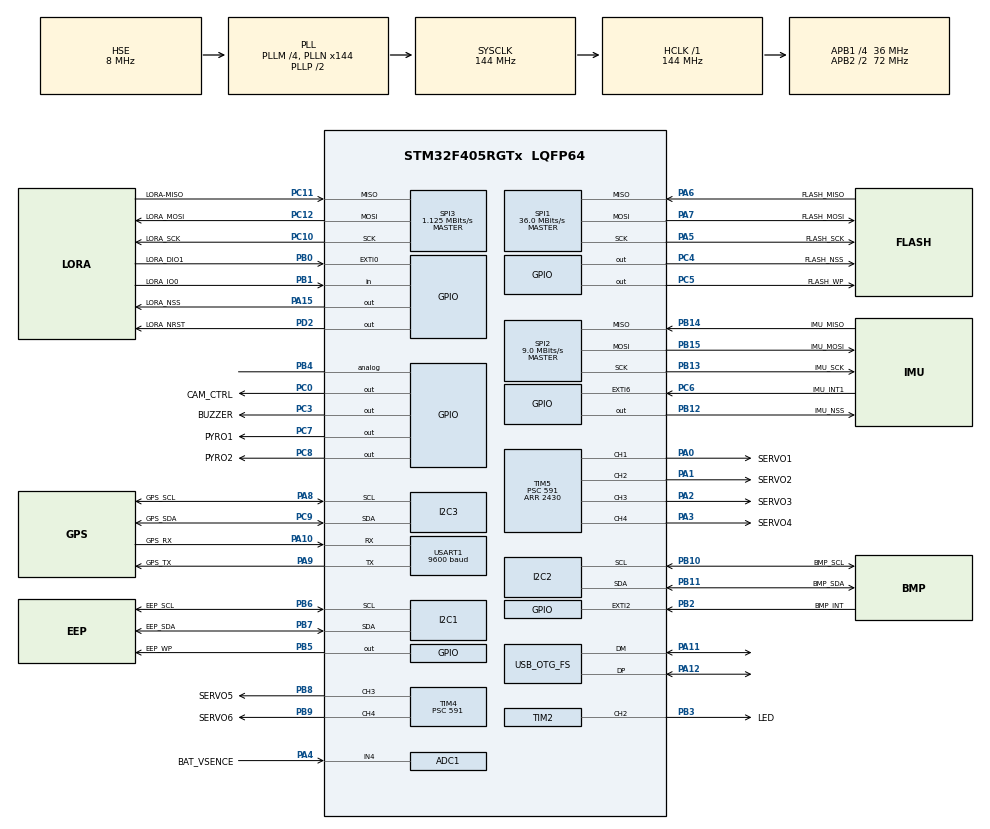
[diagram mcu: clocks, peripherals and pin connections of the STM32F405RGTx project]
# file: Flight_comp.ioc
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ADC1.Channel-0\#ChannelRegularConversion=ADC_CHANNEL_4
ADC1.NbrOfConversionFlag=1
ADC1.Rank-0\#ChannelRegularConversion=1
ADC1.SamplingTime-0\#ChannelRegularConversion=ADC_SAMPLETIME_84CYCLES
ADC1.master=1
Dma.ADC1.4.Direction=DMA_PERIPH_TO_MEMORY
Dma.ADC1.4.FIFOMode=DMA_FIFOMODE_DISABLE
Dma.ADC1.4.Instance=DMA2_Stream0
Dma.ADC1.4.MemDataAlignment=DMA_MDATAALIGN_HALFWORD
Dma.ADC1.4.MemInc=DMA_MINC_ENABLE
Dma.ADC1.4.Mode=DMA_NORMAL
Dma.ADC1.4.PeriphDataAlignment=DMA_PDATAALIGN_HALFWORD
Dma.ADC1.4.PeriphInc=DMA_PINC_DISABLE
Dma.ADC1.4.Priority=DMA_PRIORITY_LOW
Dma.Request0=USART1_RX
Dma.Request1=SPI2_RX
Dma.Request2=TIM2_CH2/CH4
Dma.Request3=SPI2_TX
Dma.Request4=ADC1
Dma.SPI2_RX.1.Direction=DMA_PERIPH_TO_MEMORY
Dma.SPI2_RX.1.FIFOMode=DMA_FIFOMODE_DISABLE
Dma.SPI2_RX.1.Instance=DMA1_Stream3
Dma.SPI2_RX.1.MemDataAlignment=DMA_MDATAALIGN_BYTE
Dma.SPI2_RX.1.MemInc=DMA_MINC_ENABLE
Dma.SPI2_RX.1.Mode=DMA_NORMAL
Dma.SPI2_RX.1.PeriphDataAlignment=DMA_PDATAALIGN_BYTE
Dma.SPI2_RX.1.PeriphInc=DMA_PINC_DISABLE
Dma.SPI2_RX.1.Priority=DMA_PRIORITY_LOW
Dma.SPI2_TX.3.Direction=DMA_MEMORY_TO_PERIPH
Dma.SPI2_TX.3.FIFOMode=DMA_FIFOMODE_DISABLE
Dma.SPI2_TX.3.Instance=DMA1_Stream4
Dma.SPI2_TX.3.MemDataAlignment=DMA_MDATAALIGN_BYTE
Dma.SPI2_TX.3.MemInc=DMA_MINC_ENABLE
Dma.SPI2_TX.3.Mode=DMA_NORMAL
Dma.SPI2_TX.3.PeriphDataAlignment=DMA_PDATAALIGN_BYTE
Dma.SPI2_TX.3.PeriphInc=DMA_PINC_DISABLE
Dma.SPI2_TX.3.Priority=DMA_PRIORITY_LOW
Dma.TIM2_CH2/CH4.2.Direction=DMA_MEMORY_TO_PERIPH
Dma.TIM2_CH2/CH4.2.FIFOMode=DMA_FIFOMODE_DISABLE
Dma.TIM2_CH2/CH4.2.Instance=DMA1_Stream6
Dma.TIM2_CH2/CH4.2.MemDataAlignment=DMA_MDATAALIGN_WORD
Dma.TIM2_CH2/CH4.2.MemInc=DMA_MINC_ENABLE
Dma.TIM2_CH2/CH4.2.Mode=DMA_NORMAL
Dma.TIM2_CH2/CH4.2.PeriphDataAlignment=DMA_PDATAALIGN_WORD
Dma.TIM2_CH2/CH4.2.PeriphInc=DMA_PINC_DISABLE
Dma.TIM2_CH2/CH4.2.Priority=DMA_PRIORITY_VERY_HIGH
Dma.USART1_RX.0.Direction=DMA_PERIPH_TO_MEMORY
Dma.USART1_RX.0.FIFOMode=DMA_FIFOMODE_DISABLE
Dma.USART1_RX.0.Instance=DMA2_Stream2
Dma.USART1_RX.0.MemDataAlignment=DMA_MDATAALIGN_BYTE
Dma.USART1_RX.0.MemInc=DMA_MINC_ENABLE
Dma.USART1_RX.0.Mode=DMA_CIRCULAR
Dma.USART1_RX.0.PeriphDataAlignment=DMA_PDATAALIGN_BYTE
Dma.USART1_RX.0.PeriphInc=DMA_PINC_DISABLE
Dma.USART1_RX.0.Priority=DMA_PRIORITY_LOW
I2C1.I2C_Mode=I2C_Fast
I2C2.I2C_Mode=I2C_Fast
I2C3.I2C_Mode=I2C_Standard
Mcu.Family=STM32F4
Mcu.Name=STM32F405RGTx
Mcu.Package=LQFP64
NVIC.ADC_IRQn=true\:0\:0\:false\:false\:true\:true\:true\:true
NVIC.DMA1_Stream3_IRQn=true\:0\:0\:false\:false\:true\:false\:true\:true
NVIC.DMA1_Stream4_IRQn=true\:0\:0\:false\:false\:true\:false\:true\:true
NVIC.DMA1_Stream6_IRQn=true\:0\:0\:false\:false\:true\:false\:true\:true
NVIC.DMA2_Stream0_IRQn=true\:0\:0\:false\:false\:true\:false\:true\:true
NVIC.DMA2_Stream2_IRQn=true\:0\:0\:false\:false\:true\:false\:true\:true
NVIC.EXTI0_IRQn=true\:0\:0\:false\:false\:true\:true\:true\:true
NVIC.EXTI2_IRQn=true\:0\:0\:false\:false\:true\:true\:true\:true
NVIC.EXTI9_5_IRQn=true\:0\:0\:false\:false\:true\:true\:true\:true
NVIC.OTG_FS_IRQn=true\:0\:0\:false\:false\:true\:false\:true\:true
NVIC.PriorityGroup=NVIC_PRIORITYGROUP_4
NVIC.SPI2_IRQn=true\:0\:0\:false\:false\:true\:true\:true\:true
NVIC.SPI3_IRQn=true\:0\:0\:false\:false\:true\:true\:true\:true
NVIC.TIM2_IRQn=true\:0\:0\:false\:false\:true\:true\:true\:true
NVIC.TIM6_DAC_IRQn=true\:0\:0\:false\:false\:true\:true\:true\:true
NVIC.TIM7_IRQn=true\:0\:0\:false\:false\:true\:true\:true\:true
NVIC.USART1_IRQn=true\:0\:0\:false\:false\:true\:true\:true\:true
PA0-WKUP.GPIO_Label=SERVO1
PA0-WKUP.Signal=S_TIM5_CH1
PA1.GPIO_Label=SERVO2
PA1.Signal=S_TIM5_CH2
PA10.GPIO_Label=GPS_RX
PA10.Mode=Asynchronous
PA10.Signal=USART1_RX
PA11.Mode=Device_Only
PA11.Signal=USB_OTG_FS_DM
PA12.Mode=Device_Only
PA12.Signal=USB_OTG_FS_DP
PA13.Mode=Serial_Wire
PA13.Signal=SYS_JTMS-SWDIO
PA14.Mode=Serial_Wire
PA14.Signal=SYS_JTCK-SWCLK
PA15.GPIO_Label=LORA_NSS
PA15.GPIO_Speed=GPIO_SPEED_FREQ_VERY_HIGH
PA15.PinState=GPIO_PIN_SET
PA15.Signal=GPIO_Output
PA2.GPIO_Label=SERVO3
PA2.Signal=S_TIM5_CH3
PA3.GPIO_Label=SERVO4
PA3.Signal=S_TIM5_CH4
PA4.GPIO_Label=BAT_VSENCE
PA4.Signal=ADCx_IN4
PA5.GPIO_Label=FLASH_SCK
PA5.Mode=Full_Duplex_Master
PA5.Signal=SPI1_SCK
PA6.GPIO_Label=FLASH_MISO
PA6.Mode=Full_Duplex_Master
PA6.Signal=SPI1_MISO
PA7.GPIO_Label=FLASH_MOSI
PA7.Mode=Full_Duplex_Master
PA7.Signal=SPI1_MOSI
PA8.GPIO_Label=GPS_SCL
PA8.GPIO_Pu=GPIO_PULLUP
PA8.Mode=I2C
PA8.Signal=I2C3_SCL
PA9.GPIO_Label=GPS_TX
PA9.Mode=Asynchronous
PA9.Signal=USART1_TX
PB0.GPIO_Label=LORA_DIO1
PB0.GPIO_PuPd=GPIO_PULLDOWN
PB0.Signal=GPXTI0
PB1.GPIO_Label=LORA_IO0
PB1.GPIO_PuPd=GPIO_PULLDOWN
PB1.Signal=GPIO_Input
PB10.GPIO_Label=BMP_SCL
PB10.GPIO_Pu=GPIO_PULLUP
PB10.Mode=I2C
PB10.Signal=I2C2_SCL
PB11.GPIO_Label=BMP_SDA
PB11.GPIO_Pu=GPIO_PULLUP
PB11.Mode=I2C
PB11.Signal=I2C2_SDA
PB12.GPIO_Label=IMU_NSS
PB12.GPIO_Speed=GPIO_SPEED_FREQ_VERY_HIGH
PB12.PinState=GPIO_PIN_SET
PB12.Signal=GPIO_Output
PB13.GPIO_Label=IMU_SCK
PB13.Mode=Full_Duplex_Master
PB13.Signal=SPI2_SCK
PB14.GPIO_Label=IMU_MISO
PB14.Mode=Full_Duplex_Master
PB14.Signal=SPI2_MISO
PB15.GPIO_Label=IMU_MOSI
PB15.Mode=Full_Duplex_Master
PB15.Signal=SPI2_MOSI
PB2.GPIO_Label=BMP_INT
PB2.Signal=GPXTI2
PB3.GPIO_Label=LED
PB3.Signal=S_TIM2_CH2
PB4.Signal=GPIO_Analog
PB5.GPIO_Label=EEP_WP
PB5.GPIO_Speed=GPIO_SPEED_FREQ_VERY_HIGH
PB5.PinState=GPIO_PIN_RESET
PB5.Signal=GPIO_Output
PB6.GPIO_Label=EEP_SCL
PB6.GPIO_Pu=GPIO_PULLUP
PB6.Mode=I2C
PB6.Signal=I2C1_SCL
PB7.GPIO_Label=EEP_SDA
PB7.GPIO_Pu=GPIO_PULLUP
PB7.Mode=I2C
PB7.Signal=I2C1_SDA
PB8.GPIO_Label=SERVO5
PB8.Signal=S_TIM4_CH3
PB9.GPIO_Label=SERVO6
PB9.Signal=S_TIM4_CH4
PC0.GPIO_Label=CAM_CTRL
PC0.Signal=GPIO_Output
PC10.GPIO_Label=LORA_SCK
PC10.Mode=Full_Duplex_Master
PC10.Signal=SPI3_SCK
PC11.GPIO_Label=LORA-MISO
PC11.Mode=Full_Duplex_Master
PC11.Signal=SPI3_MISO
PC12.GPIO_Label=LORA_MOSI
PC12.Mode=Full_Duplex_Master
PC12.Signal=SPI3_MOSI
PC14-OSC32_IN.Mode=LSE-External-Oscillator
PC14-OSC32_IN.Signal=RCC_OSC32_IN
PC15-OSC32_OUT.Mode=LSE-External-Oscillator
PC15-OSC32_OUT.Signal=RCC_OSC32_OUT
PC3.GPIO_Label=BUZZER
PC3.Signal=GPIO_Output
PC4.GPIO_Label=FLASH_NSS
PC4.GPIO_Speed=GPIO_SPEED_FREQ_VERY_HIGH
PC4.PinState=GPIO_PIN_SET
PC4.Signal=GPIO_Output
PC5.GPIO_Label=FLASH_WP
PC5.GPIO_Speed=GPIO_SPEED_FREQ_VERY_HIGH
PC5.PinState=GPIO_PIN_SET
PC5.Signal=GPIO_Output
PC6.GPIO_Label=IMU_INT1
PC6.GPIO_ModeDefaultEXTI=GPIO_MODE_IT_RISING
PC6.Signal=GPXTI6
PC7.GPIO_Label=PYRO1
PC7.Signal=GPIO_Output
PC8.GPIO_Label=PYRO2
PC8.Signal=GPIO_Output
PC9.GPIO_Label=GPS_SDA
PC9.GPIO_Pu=GPIO_PULLUP
PC9.Mode=I2C
PC9.Signal=I2C3_SDA
PD2.GPIO_Label=LORA_NRST
PD2.PinState=GPIO_PIN_SET
PD2.Signal=GPIO_Output
PH0-OSC_IN.Mode=HSE-External-Oscillator
PH0-OSC_IN.Signal=RCC_OSC_IN
PH1-OSC_OUT.Mode=HSE-External-Oscillator
PH1-OSC_OUT.Signal=RCC_OSC_OUT
ProjectManager.HeapSize=0x200
ProjectManager.StackSize=0x400
ProjectManager.TargetToolchain=Makefile
RCC.48MHZClocksFreq_Value=48000000
RCC.AHBFreq_Value=144000000
RCC.APB1CLKDivider=RCC_HCLK_DIV4
RCC.APB1Freq_Value=36000000
RCC.APB1TimFreq_Value=72000000
RCC.APB2CLKDivider=RCC_HCLK_DIV2
RCC.APB2Freq_Value=72000000
RCC.APB2TimFreq_Value=144000000
RCC.CortexFreq_Value=144000000
RCC.HCLKFreq_Value=144000000
RCC.HSE_VALUE=8000000
RCC.HSI_VALUE=16000000
RCC.PLLM=4
RCC.PLLN=144
RCC.PLLQ=6
RCC.SYSCLKFreq_VALUE=144000000
RCC.SYSCLKSource=RCC_SYSCLKSOURCE_PLLCLK
RCC.VCOOutputFreq_Value=288000000
SH.ADCx_IN4.0=ADC1_IN4,IN4
SH.S_TIM2_CH2.0=TIM2_CH2,PWM Generation2 CH2
SH.S_TIM4_CH3.0=TIM4_CH3,PWM Generation3 CH3
SH.S_TIM4_CH4.0=TIM4_CH4,PWM Generation4 CH4
SH.S_TIM5_CH1.0=TIM5_CH1,PWM Generation1 CH1
SH.S_TIM5_CH2.0=TIM5_CH2,PWM Generation2 CH2
SH.S_TIM5_CH3.0=TIM5_CH3,PWM Generation3 CH3
SH.S_TIM5_CH4.0=TIM5_CH4,Output Compare4 CH4
SPI1.BaudRatePrescaler=SPI_BAUDRATEPRESCALER_2
SPI1.CalculateBaudRate=36.0 MBits/s
SPI1.Direction=SPI_DIRECTION_2LINES
SPI1.Mode=SPI_MODE_MASTER
SPI1.VirtualType=VM_MASTER
SPI2.BaudRatePrescaler=SPI_BAUDRATEPRESCALER_4
SPI2.CLKPhase=SPI_PHASE_2EDGE
SPI2.CLKPolarity=SPI_POLARITY_HIGH
SPI2.CalculateBaudRate=9.0 MBits/s
SPI2.Direction=SPI_DIRECTION_2LINES
SPI2.Mode=SPI_MODE_MASTER
SPI2.VirtualNSS=VM_NSSHARD
SPI2.VirtualType=VM_MASTER
SPI3.BaudRatePrescaler=SPI_BAUDRATEPRESCALER_32
SPI3.CalculateBaudRate=1.125 MBits/s
SPI3.Direction=SPI_DIRECTION_2LINES
SPI3.Mode=SPI_MODE_MASTER
SPI3.VirtualType=VM_MASTER
TIM2.Channel-PWM\ Generation2\ CH2=TIM_CHANNEL_2
TIM2.Period=90-1
TIM4.Channel-PWM\ Generation3\ CH3=TIM_CHANNEL_3
TIM4.Channel-PWM\ Generation4\ CH4=TIM_CHANNEL_4
TIM4.Period=2430
TIM4.Prescaler=591
TIM5.Channel-Output\ Compare4\ CH4=TIM_CHANNEL_4
TIM5.Channel-PWM\ Generation1\ CH1=TIM_CHANNEL_1
TIM5.Channel-PWM\ Generation2\ CH2=TIM_CHANNEL_2
TIM5.Channel-PWM\ Generation3\ CH3=TIM_CHANNEL_3
TIM5.Period=2430
TIM5.Prescaler=591
TIM6.Period=65535
TIM6.Prescaler=72-1
TIM7.Period=250
TIM7.Prescaler=35
USART1.BaudRate=9600
USART1.VirtualMode=VM_ASYNC
USB_DEVICE.CLASS_NAME_FS=MSC
USB_DEVICE.VirtualMode-MSC_FS=Msc
USB_DEVICE.VirtualModeFS=Msc_FS
USB_OTG_FS.VirtualMode=Device_Only
VP_CRC_VS_CRC.Mode=CRC_Activate
VP_FATFS_VS_Generic.Mode=User_defined
VP_RNG_VS_RNG.Mode=RNG_Activate
VP_RTC_VS_RTC_Activate.Mode=RTC_Enabled
VP_TIM2_VS_ClockSourceINT.Mode=Internal
VP_TIM4_VS_ClockSourceINT.Mode=Internal
VP_TIM5_VS_ClockSourceINT.Mode=Internal
VP_TIM6_VS_ClockSourceINT.Mode=Enable_Timer
VP_TIM7_VS_ClockSourceINT.Mode=Enable_Timer
VP_USB_DEVICE_VS_USB_DEVICE_MSC_FS.Mode=MSC_FS
board=custom

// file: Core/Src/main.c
/* USER CODE BEGIN Header */
/**
  ******************************************************************************
  * @file           : main.c
  * @brief          : Main program body
  ******************************************************************************
  * @attention
  *
  * Copyright (c) 2026 STMicroelectronics.
  * All rights reserved.
  *
  * This software is licensed under terms that can be found in the LICENSE file
  * in the root directory of this software component.
  * If no LICENSE file comes with this software, it is provided AS-IS.
  *
  ******************************************************************************
  */
/* USER CODE END Header */
#include "main.h"
#include "fatfs.h"
#include "usb_device.h"

/* USER CODE BEGIN Includes */
#include "25flash.h"
#include "neopixel.h"
#include "buzzer.h"
#include "lsm6dso.h"
#include "BMP388.h"
#include "ee24.h"
#include "servo.h"
#include "gps.h"
#include "SX1262.h"
#include "imu_fusion.h"
#include "mission.h"
#include <string.h>
#include "stdbool.h"
#include "tvc_servo.h"
/* USER CODE END Includes */

/* USER CODE BEGIN PD */
/* ===========================================================================
   BENCH SERVO TEST — remove/comment out before flight.
   When defined, main() runs Servo_BenchTest() forever right after the servos
   are initialised, and never proceeds to the mission. It sweeps each TVC servo
   on its own (servo 1 first, then servo 2) between home+20 and home-20 deg,
   pausing at each end so you can watch whether it actually reaches the position.
   Purely a mechanical/wiring check; comment the line out to boot normally. */
// #define SERVO_BENCH_TEST   /* servos validated — off; using TVC_SIGN_CHECK now */
#define SERVO_BENCH_SWEEP_DEG   20    /* +/- degrees from home */
#define SERVO_BENCH_PAUSE_MS    1500  /* hold time at each end */
/* =========================================================================== */

/* ---------------------------------------------------------------------------
   !!! MEASURE THIS. Do not trust the schematic.
   !!! With the 3S LiFePO4 connected: DMM across the pack (V_pack) and at the
   !!! ADC pin (V_pin), then VBAT_DIV_K = V_pack / V_pin.
   !!! The old 4.13 reported 7.89 V for a pack that should sit near 9.9 V.
   --------------------------------------------------------------------------- */
#define VBAT_DIV_K   4.87f
#define VBAT_LP_ALPHA 0.05f   /* the pack sags hard under servo/LoRa current pulses */

#define LSM6DSO_I2C_ADDR (0x6A << 1)
/* USER CODE END PD */

ADC_HandleTypeDef hadc1;
DMA_HandleTypeDef hdma_adc1;

CRC_HandleTypeDef hcrc;

I2C_HandleTypeDef hi2c1;
I2C_HandleTypeDef hi2c2;
I2C_HandleTypeDef hi2c3;

RNG_HandleTypeDef hrng;

RTC_HandleTypeDef hrtc;

SPI_HandleTypeDef hspi1;
SPI_HandleTypeDef hspi2;
SPI_HandleTypeDef hspi3;
DMA_HandleTypeDef hdma_spi2_rx;
DMA_HandleTypeDef hdma_spi2_tx;

TIM_HandleTypeDef htim2;
TIM_HandleTypeDef htim4;
TIM_HandleTypeDef htim5;
TIM_HandleTypeDef htim6;
TIM_HandleTypeDef htim7;
DMA_HandleTypeDef hdma_tim2_ch2_ch4;

UART_HandleTypeDef huart1;
DMA_HandleTypeDef hdma_usart1_rx;

/* USER CODE BEGIN PV */
TIM_HandleTypeDef htim3;          /* 400 Hz control loop */
LSM6DSO_Object_t hlsm6dso1;
LSM6DSO_IO_t lsm6dso_io;

// GNSS_StateHandle GNSS_Handle;

BMP388_HandleTypeDef hbmp388;

EE24_HandleTypeDef h24lc64;

Buzzer_Handle hbuzz1;

servo_t hservo1, hservo2, hservo3, hservo4, hservo5, hservo6;
gngga_t gps;

FATFS fs;

float battery_v;
uint32_t adc_buff[1];

bool buzz_state;

uint8_t lora_buf[255];
uint8_t received_len;

uint8_t gps_working_buf[1024];

extern bool POST_fault_flags[];

uint32_t FreeSpace;
FATFS FatFs;
// extern SX1262 SX_stc;
uint32_t flight_rand_id;
/* USER CODE END PV */

void SystemClock_Config(void);
static void MX_GPIO_Init(void);
static void MX_DMA_Init(void);
static void MX_ADC1_Init(void);
static void MX_I2C1_Init(void);
static void MX_I2C2_Init(void);
static void MX_I2C3_Init(void);
static void MX_RTC_Init(void);
static void MX_SPI1_Init(void);
static void MX_SPI2_Init(void);
static void MX_SPI3_Init(void);
static void MX_TIM4_Init(void);
static void MX_TIM5_Init(void);
static void MX_USART1_UART_Init(void);
static void MX_CRC_Init(void);
static void MX_TIM7_Init(void);
static void MX_TIM2_Init(void);
static void MX_TIM6_Init(void);
static void MX_RNG_Init(void);
/* USER CODE BEGIN PFP */
#ifdef SERVO_BENCH_TEST
void Servo_BenchTest(void);
#endif
void Ctrl_Timer_Init(void);
void Ctrl_Timer_Start(void);
void Ctrl_Timer_Stop(void);
void Get_Vbat(void);
void platform_delay(uint32_t ms);

int32_t platform_imu_init(void);
int32_t platform_imu_deinit(void);
int32_t platform_imu_read(uint16_t Address, uint16_t Reg, uint8_t *Data, uint16_t Length);
int32_t platform_imu_write(uint16_t Address, uint16_t Reg, uint8_t *Data, uint16_t Length);
int32_t platform_get_tick(void);
/* USER CODE END PFP */

/* USER CODE BEGIN 0 */
void PRS_Init(void){
  hbmp388.hi2c = &hi2c2;
  uint32_t rprs, rtemp, time;
  if(BMP388_Init(&hbmp388) == HAL_OK){
    HAL_Delay(5);
    BMP388_SetTempOS(&hbmp388, BMP388_OVERSAMPLING_8X);
    BMP388_SetPressOS(&hbmp388, BMP388_OVERSAMPLING_8X);
    BMP388_SetIIRFilterCoeff(&hbmp388, BMP3_IIR_FILTER_COEFF_3);
    BMP388_SetOutputDataRate(&hbmp388, BMP3_ODR_50_HZ);
    BMP388_ReadRawPressTempTime(&hbmp388, &rprs, &rtemp, &time);  // DUMMY
  }else{
    POST_fault_flags[PRS_Comm_Fail] = 1;
  }
}

void IMU_Init(void){
  lsm6dso_io.BusType  = LSM6DSO_SPI_4WIRES_BUS;
  lsm6dso_io.Address  = 0;
  lsm6dso_io.Init     = platform_imu_init;
  lsm6dso_io.DeInit   = platform_imu_deinit;
  lsm6dso_io.ReadReg  = platform_imu_read;
  lsm6dso_io.WriteReg = platform_imu_write;
  lsm6dso_io.GetTick  = platform_get_tick;
  lsm6dso_io.Delay    = platform_delay;

  if (LSM6DSO_RegisterBusIO(&hlsm6dso1, &lsm6dso_io) == LSM6DSO_OK){
    if (LSM6DSO_Init(&hlsm6dso1) == LSM6DSO_OK){
      IMU_Fusion_Init(&hlsm6dso1);
      HAL_Delay(100);
      // IMU_Fusion_CalibrateGyro(200);
    }
  }else{
    POST_fault_flags[IMU_Comm_Fail] = 1;
  }
}

void LoRa_Init(void){
  SX1262_Get_st()->SPI = hspi3;
  SX1262_Get_st()->Reset_Port = LORA_NRST_GPIO_Port;
  SX1262_Get_st()->Reset_Pin = LORA_NRST_Pin;
  SX1262_Get_st()->NSS_Port = LORA_NSS_GPIO_Port;
  SX1262_Get_st()->NSS_Pin = LORA_NSS_Pin;
  SX1262_Get_st()->Busy_Port = LORA_IO0_GPIO_Port;
  SX1262_Get_st()->Busy_Pin = LORA_IO0_Pin;

  if(SX1262_Init() != 0){
    POST_fault_flags[LoRa_Comm_Fail] = 1;
    return;
  }
  SX1262_SetFrequency(433000000);
  SX1262_setModeReceive();
  uint8_t lora_data[] = "Hello, LoRa!";
  SX1262_Transmit(lora_data, sizeof(lora_data));

  /* 17 dbm, BW 250 kHz, CR_4_5, No CRC, SF7, use sync word 0x12 on SX1278*/
}

void FatFs_Test(void){
  FRESULT FR_Status;
  FATFS *FS_Ptr;
  DWORD FreeClusters;

  FR_Status = f_mount(&FatFs, "", 1);
  if (FR_Status == FR_OK){
    f_getfree("", &FreeClusters, &FS_Ptr);
    FreeSpace = (uint32_t)(FreeClusters * FS_Ptr->csize * 0.5);
    if(FreeSpace < MIN_FLASH_SPACE_KB){
      POST_fault_flags[FS_No_Space] = 1;
    }
  }else{
    POST_fault_flags[FS_Not_Found] = 1;
  }

  FR_Status = f_mount(NULL, "", 0);
}

void Servo_Init_All(void){
  Servo_Init(&hservo1, &htim5, TIM_CHANNEL_1);
  Servo_Init(&hservo2, &htim5, TIM_CHANNEL_2);
  Servo_Init(&hservo3, &htim5, TIM_CHANNEL_3);

  /* TVC servos = KST X10 Mini Pro-A: 900..2100 us -> -60..+60 deg (1500 us =
     center). Map software 0..120 deg to that range, so 1 software deg = 1 servo
     deg and 60 deg = mechanical center. Restrict the us limits here if you want
     less travel. hservo3 (parachute) is left on its default map, so its deploy
     pulse is unchanged. */
  Servo_SetLimitsUS(&hservo1, 0.0f, 120.0f, 900, 2100);
  Servo_SetLimitsUS(&hservo2, 0.0f, 120.0f, 900, 2100);

  Servo_SetAngle(&hservo1, Servo1_Home);
  Servo_SetAngle(&hservo2, Servo2_Home);
  Servo_SetAngle(&hservo3, Parachute_Servo_Home);
}

void GPS_Init(void){
  HAL_UART_Receive_DMA(&huart1, gps_working_buf, sizeof(gps_working_buf));
  __HAL_UART_ENABLE_IT(&huart1, UART_IT_IDLE);
}

void EEPROM_Init(void){
  if(EE24_Init(&h24lc64, &hi2c1, EE24_ADDRESS_DEFAULT, EEP_WP_GPIO_Port, EEP_WP_Pin) != 1){
    POST_fault_flags[EEPROM_Comm_Fail] = 1;
  }
}

void LoRa_TxTelemetry(void){
  // uint8_t telem_buf[19];
  // Mission_BuildTelemetryPacket(telem_buf);
  // SX1262_Transmit(telem_buf, sizeof(telem_buf));

  uint8_t raw_telem_buf[54];
  Mission_BuildRAWTelemetryPacket(raw_telem_buf);
  SX1262_Transmit(raw_telem_buf, sizeof(raw_telem_buf));
}
/* USER CODE END 0 */

int main(void)
{

  /* MCU Configuration--------------------------------------------------------*/

  /* Reset of all peripherals, Initializes the Flash interface and the Systick. */
  HAL_Init();

  /* Configure the system clock */
  SystemClock_Config();

  /* Initialize all configured peripherals */
  MX_GPIO_Init();
  MX_DMA_Init();
  MX_ADC1_Init();
  MX_I2C1_Init();
  MX_I2C2_Init();
  MX_I2C3_Init();
  MX_RTC_Init();
  MX_SPI1_Init();
  MX_SPI2_Init();
  MX_SPI3_Init();
  MX_TIM4_Init();
  MX_TIM5_Init();
  MX_USART1_UART_Init();
  MX_USB_DEVICE_Init();
  MX_CRC_Init();
  MX_FATFS_Init();
  MX_TIM7_Init();
  MX_TIM2_Init();
  MX_TIM6_Init();
  MX_RNG_Init();
  /* USER CODE BEGIN 2 */
  BUZZ(&hbuzz1, 300);

  LED_Set_Color(64, 64, 0);

  EEPROM_Init();
  GPS_Init();
  PRS_Init();
  IMU_Init();
  LoRa_Init();
  Servo_Init_All();
#ifdef SERVO_BENCH_TEST
  /* Bench servo check — never returns. Comment out SERVO_BENCH_TEST (top of
     file) to boot normally into the mission. */
  Servo_BenchTest();
#endif
  FatFs_Test();

  HAL_RNG_GenerateRandomNumber(&hrng, &flight_rand_id);

  Mission_Init();

  /* Configured now, started later by Mission_StartControlLoop() -- gyro bias
     calibration must have SPI2 to itself first. */
  Ctrl_Timer_Init();

  LED_Set_Color(0, 64, 0);

  BUZZ(&hbuzz1, 300);

  uint32_t tel_tmr = HAL_GetTick();
  /* USER CODE END 2 */

  /* Infinite loop */
  /* USER CODE BEGIN WHILE */
  while (1)
  {
    // if(gps.lat != 0 && gps.valid){
    //   BUZZ(&hbuzz1, 300);
    // }
    if(HAL_GetTick() - tel_tmr > 100){
      LoRa_TxTelemetry();
      tel_tmr = HAL_GetTick();
    }

    Mission_Update();

    Get_Vbat();
    /* USER CODE END WHILE */

  }
}

void SystemClock_Config(void)
{
  RCC_OscInitTypeDef RCC_OscInitStruct = {0};
  RCC_ClkInitTypeDef RCC_ClkInitStruct = {0};

  /** Configure the main internal regulator output voltage
  */
  __HAL_RCC_PWR_CLK_ENABLE();
  __HAL_PWR_VOLTAGESCALING_CONFIG(PWR_REGULATOR_VOLTAGE_SCALE1);

  /** Initializes the RCC Oscillators according to the specified parameters
  * in the RCC_OscInitTypeDef structure.
  */
  RCC_OscInitStruct.OscillatorType = RCC_OSCILLATORTYPE_LSI|RCC_OSCILLATORTYPE_HSE;
  RCC_OscInitStruct.HSEState = RCC_HSE_ON;
  RCC_OscInitStruct.LSIState = RCC_LSI_ON;
  RCC_OscInitStruct.PLL.PLLState = RCC_PLL_ON;
  RCC_OscInitStruct.PLL.PLLSource = RCC_PLLSOURCE_HSE;
  RCC_OscInitStruct.PLL.PLLM = 4;
  RCC_OscInitStruct.PLL.PLLN = 144;
  RCC_OscInitStruct.PLL.PLLP = RCC_PLLP_DIV2;
  RCC_OscInitStruct.PLL.PLLQ = 6;
  if (HAL_RCC_OscConfig(&RCC_OscInitStruct) != HAL_OK)
  {
    Error_Handler();
  }

  /** Initializes the CPU, AHB and APB buses clocks
  */
  RCC_ClkInitStruct.ClockType = RCC_CLOCKTYPE_HCLK|RCC_CLOCKTYPE_SYSCLK
                              |RCC_CLOCKTYPE_PCLK1|RCC_CLOCKTYPE_PCLK2;
  RCC_ClkInitStruct.SYSCLKSource = RCC_SYSCLKSOURCE_PLLCLK;
  RCC_ClkInitStruct.AHBCLKDivider = RCC_SYSCLK_DIV1;
  RCC_ClkInitStruct.APB1CLKDivider = RCC_HCLK_DIV4;
  RCC_ClkInitStruct.APB2CLKDivider = RCC_HCLK_DIV2;

  if (HAL_RCC_ClockConfig(&RCC_ClkInitStruct, FLASH_LATENCY_4) != HAL_OK)
  {
    Error_Handler();
  }
}

static void MX_ADC1_Init(void)
{

  ADC_ChannelConfTypeDef sConfig = {0};

  /** Configure the global features of the ADC (Clock, Resolution, Data Alignment and number of conversion)
  */
  hadc1.Instance = ADC1;
  hadc1.Init.ClockPrescaler = ADC_CLOCK_SYNC_PCLK_DIV2;
  hadc1.Init.Resolution = ADC_RESOLUTION_12B;
  hadc1.Init.ScanConvMode = DISABLE;
  hadc1.Init.ContinuousConvMode = DISABLE;
  hadc1.Init.DiscontinuousConvMode = DISABLE;
  hadc1.Init.ExternalTrigConvEdge = ADC_EXTERNALTRIGCONVEDGE_NONE;
  hadc1.Init.ExternalTrigConv = ADC_SOFTWARE_START;
  hadc1.Init.DataAlign = ADC_DATAALIGN_RIGHT;
  hadc1.Init.NbrOfConversion = 1;
  hadc1.Init.DMAContinuousRequests = DISABLE;
  hadc1.Init.EOCSelection = ADC_EOC_SINGLE_CONV;
  if (HAL_ADC_Init(&hadc1) != HAL_OK)
  {
    Error_Handler();
  }

  /** Configure for the selected ADC regular channel its corresponding rank in the sequencer and its sample time.
  */
  sConfig.Channel = ADC_CHANNEL_4;
  sConfig.Rank = 1;
  sConfig.SamplingTime = ADC_SAMPLETIME_84CYCLES;
  if (HAL_ADC_ConfigChannel(&hadc1, &sConfig) != HAL_OK)
  {
    Error_Handler();
  }

}

static void MX_CRC_Init(void)
{

  hcrc.Instance = CRC;
  if (HAL_CRC_Init(&hcrc) != HAL_OK)
  {
    Error_Handler();
  }

}

static void MX_I2C1_Init(void)
{

  hi2c1.Instance = I2C1;
  hi2c1.Init.ClockSpeed = 400000;
  hi2c1.Init.DutyCycle = I2C_DUTYCYCLE_2;
  hi2c1.Init.OwnAddress1 = 0;
  hi2c1.Init.AddressingMode = I2C_ADDRESSINGMODE_7BIT;
  hi2c1.Init.DualAddressMode = I2C_DUALADDRESS_DISABLE;
  hi2c1.Init.OwnAddress2 = 0;
  hi2c1.Init.GeneralCallMode = I2C_GENERALCALL_DISABLE;
  hi2c1.Init.NoStretchMode = I2C_NOSTRETCH_DISABLE;
  if (HAL_I2C_Init(&hi2c1) != HAL_OK)
  {
    Error_Handler();
  }

}

static void MX_I2C2_Init(void)
{

  hi2c2.Instance = I2C2;
  hi2c2.Init.ClockSpeed = 400000;
  hi2c2.Init.DutyCycle = I2C_DUTYCYCLE_2;
  hi2c2.Init.OwnAddress1 = 0;
  hi2c2.Init.AddressingMode = I2C_ADDRESSINGMODE_7BIT;
  hi2c2.Init.DualAddressMode = I2C_DUALADDRESS_DISABLE;
  hi2c2.Init.OwnAddress2 = 0;
  hi2c2.Init.GeneralCallMode = I2C_GENERALCALL_DISABLE;
  hi2c2.Init.NoStretchMode = I2C_NOSTRETCH_DISABLE;
  if (HAL_I2C_Init(&hi2c2) != HAL_OK)
  {
    Error_Handler();
  }

}

static void MX_I2C3_Init(void)
{

  hi2c3.Instance = I2C3;
  hi2c3.Init.ClockSpeed = 100000;
  hi2c3.Init.DutyCycle = I2C_DUTYCYCLE_2;
  hi2c3.Init.OwnAddress1 = 0;
  hi2c3.Init.AddressingMode = I2C_ADDRESSINGMODE_7BIT;
  hi2c3.Init.DualAddressMode = I2C_DUALADDRESS_DISABLE;
  hi2c3.Init.OwnAddress2 = 0;
  hi2c3.Init.GeneralCallMode = I2C_GENERALCALL_DISABLE;
  hi2c3.Init.NoStretchMode = I2C_NOSTRETCH_DISABLE;
  if (HAL_I2C_Init(&hi2c3) != HAL_OK)
  {
    Error_Handler();
  }

}

static void MX_RNG_Init(void)
{

  hrng.Instance = RNG;
  if (HAL_RNG_Init(&hrng) != HAL_OK)
  {
    Error_Handler();
  }

}

static void MX_RTC_Init(void)
{

  /** Initialize RTC Only
  */
  hrtc.Instance = RTC;
  hrtc.Init.HourFormat = RTC_HOURFORMAT_24;
  hrtc.Init.AsynchPrediv = 127;
  hrtc.Init.SynchPrediv = 255;
  hrtc.Init.OutPut = RTC_OUTPUT_DISABLE;
  hrtc.Init.OutPutPolarity = RTC_OUTPUT_POLARITY_HIGH;
  hrtc.Init.OutPutType = RTC_OUTPUT_TYPE_OPENDRAIN;
  if (HAL_RTC_Init(&hrtc) != HAL_OK)
  {
    Error_Handler();
  }

}

static void MX_SPI1_Init(void)
{

  /* SPI1 parameter configuration*/
  hspi1.Instance = SPI1;
  hspi1.Init.Mode = SPI_MODE_MASTER;
  hspi1.Init.Direction = SPI_DIRECTION_2LINES;
  hspi1.Init.DataSize = SPI_DATASIZE_8BIT;
  hspi1.Init.CLKPolarity = SPI_POLARITY_LOW;
  hspi1.Init.CLKPhase = SPI_PHASE_1EDGE;
  hspi1.Init.NSS = SPI_NSS_SOFT;
  hspi1.Init.BaudRatePrescaler = SPI_BAUDRATEPRESCALER_2;
  hspi1.Init.FirstBit = SPI_FIRSTBIT_MSB;
  hspi1.Init.TIMode = SPI_TIMODE_DISABLE;
  hspi1.Init.CRCCalculation = SPI_CRCCALCULATION_DISABLE;
  hspi1.Init.CRCPolynomial = 10;
  if (HAL_SPI_Init(&hspi1) != HAL_OK)
  {
    Error_Handler();
  }

}

static void MX_SPI2_Init(void)
{

  /* SPI2 parameter configuration*/
  hspi2.Instance = SPI2;
  hspi2.Init.Mode = SPI_MODE_MASTER;
  hspi2.Init.Direction = SPI_DIRECTION_2LINES;
  hspi2.Init.DataSize = SPI_DATASIZE_8BIT;
  hspi2.Init.CLKPolarity = SPI_POLARITY_HIGH;
  hspi2.Init.CLKPhase = SPI_PHASE_2EDGE;
  hspi2.Init.NSS = SPI_NSS_SOFT;
  hspi2.Init.BaudRatePrescaler = SPI_BAUDRATEPRESCALER_4;
  hspi2.Init.FirstBit = SPI_FIRSTBIT_MSB;
  hspi2.Init.TIMode = SPI_TIMODE_DISABLE;
  hspi2.Init.CRCCalculation = SPI_CRCCALCULATION_DISABLE;
  hspi2.Init.CRCPolynomial = 10;
  if (HAL_SPI_Init(&hspi2) != HAL_OK)
  {
    Error_Handler();
  }

}

static void MX_SPI3_Init(void)
{

  /* SPI3 parameter configuration*/
  hspi3.Instance = SPI3;
  hspi3.Init.Mode = SPI_MODE_MASTER;
  hspi3.Init.Direction = SPI_DIRECTION_2LINES;
  hspi3.Init.DataSize = SPI_DATASIZE_8BIT;
  hspi3.Init.CLKPolarity = SPI_POLARITY_LOW;
  hspi3.Init.CLKPhase = SPI_PHASE_1EDGE;
  hspi3.Init.NSS = SPI_NSS_SOFT;
  hspi3.Init.BaudRatePrescaler = SPI_BAUDRATEPRESCALER_32;
  hspi3.Init.FirstBit = SPI_FIRSTBIT_MSB;
  hspi3.Init.TIMode = SPI_TIMODE_DISABLE;
  hspi3.Init.CRCCalculation = SPI_CRCCALCULATION_DISABLE;
  hspi3.Init.CRCPolynomial = 10;
  if (HAL_SPI_Init(&hspi3) != HAL_OK)
  {
    Error_Handler();
  }

}

static void MX_TIM2_Init(void)
{

  TIM_ClockConfigTypeDef sClockSourceConfig = {0};
  TIM_MasterConfigTypeDef sMasterConfig = {0};
  TIM_OC_InitTypeDef sConfigOC = {0};

  htim2.Instance = TIM2;
  htim2.Init.Prescaler = 0;
  htim2.Init.CounterMode = TIM_COUNTERMODE_UP;
  htim2.Init.Period = 90-1;
  htim2.Init.ClockDivision = TIM_CLOCKDIVISION_DIV1;
  htim2.Init.AutoReloadPreload = TIM_AUTORELOAD_PRELOAD_DISABLE;
  if (HAL_TIM_Base_Init(&htim2) != HAL_OK)
  {
    Error_Handler();
  }
  sClockSourceConfig.ClockSource = TIM_CLOCKSOURCE_INTERNAL;
  if (HAL_TIM_ConfigClockSource(&htim2, &sClockSourceConfig) != HAL_OK)
  {
    Error_Handler();
  }
  if (HAL_TIM_PWM_Init(&htim2) != HAL_OK)
  {
    Error_Handler();
  }
  sMasterConfig.MasterOutputTrigger = TIM_TRGO_RESET;
  sMasterConfig.MasterSlaveMode = TIM_MASTERSLAVEMODE_DISABLE;
  if (HAL_TIMEx_MasterConfigSynchronization(&htim2, &sMasterConfig) != HAL_OK)
  {
    Error_Handler();
  }
  sConfigOC.OCMode = TIM_OCMODE_PWM1;
  sConfigOC.Pulse = 0;
  sConfigOC.OCPolarity = TIM_OCPOLARITY_HIGH;
  sConfigOC.OCFastMode = TIM_OCFAST_DISABLE;
  if (HAL_TIM_PWM_ConfigChannel(&htim2, &sConfigOC, TIM_CHANNEL_2) != HAL_OK)
  {
    Error_Handler();
  }
  HAL_TIM_MspPostInit(&htim2);

}

static void MX_TIM4_Init(void)
{

  TIM_ClockConfigTypeDef sClockSourceConfig = {0};
  TIM_MasterConfigTypeDef sMasterConfig = {0};
  TIM_OC_InitTypeDef sConfigOC = {0};

  htim4.Instance = TIM4;
  htim4.Init.Prescaler = 591;
  htim4.Init.CounterMode = TIM_COUNTERMODE_UP;
  htim4.Init.Period = 2430;
  htim4.Init.ClockDivision = TIM_CLOCKDIVISION_DIV1;
  htim4.Init.AutoReloadPreload = TIM_AUTORELOAD_PRELOAD_DISABLE;
  if (HAL_TIM_Base_Init(&htim4) != HAL_OK)
  {
    Error_Handler();
  }
  sClockSourceConfig.ClockSource = TIM_CLOCKSOURCE_INTERNAL;
  if (HAL_TIM_ConfigClockSource(&htim4, &sClockSourceConfig) != HAL_OK)
  {
    Error_Handler();
  }
  if (HAL_TIM_PWM_Init(&htim4) != HAL_OK)
  {
    Error_Handler();
  }
  sMasterConfig.MasterOutputTrigger = TIM_TRGO_RESET;
  sMasterConfig.MasterSlaveMode = TIM_MASTERSLAVEMODE_DISABLE;
  if (HAL_TIMEx_MasterConfigSynchronization(&htim4, &sMasterConfig) != HAL_OK)
  {
    Error_Handler();
  }
  sConfigOC.OCMode = TIM_OCMODE_PWM1;
  sConfigOC.Pulse = 0;
  sConfigOC.OCPolarity = TIM_OCPOLARITY_HIGH;
  sConfigOC.OCFastMode = TIM_OCFAST_DISABLE;
  if (HAL_TIM_PWM_ConfigChannel(&htim4, &sConfigOC, TIM_CHANNEL_3) != HAL_OK)
  {
    Error_Handler();
  }
  if (HAL_TIM_PWM_ConfigChannel(&htim4, &sConfigOC, TIM_CHANNEL_4) != HAL_OK)
  {
    Error_Handler();
  }
  HAL_TIM_MspPostInit(&htim4);

}

static void MX_TIM5_Init(void)
{

  TIM_ClockConfigTypeDef sClockSourceConfig = {0};
  TIM_MasterConfigTypeDef sMasterConfig = {0};
  TIM_OC_InitTypeDef sConfigOC = {0};

  htim5.Instance = TIM5;
  htim5.Init.Prescaler = 591;
  htim5.Init.CounterMode = TIM_COUNTERMODE_UP;
  htim5.Init.Period = 2430;
  htim5.Init.ClockDivision = TIM_CLOCKDIVISION_DIV1;
  htim5.Init.AutoReloadPreload = TIM_AUTORELOAD_PRELOAD_DISABLE;
  if (HAL_TIM_Base_Init(&htim5) != HAL_OK)
  {
    Error_Handler();
  }
  sClockSourceConfig.ClockSource = TIM_CLOCKSOURCE_INTERNAL;
  if (HAL_TIM_ConfigClockSource(&htim5, &sClockSourceConfig) != HAL_OK)
  {
    Error_Handler();
  }
  if (HAL_TIM_PWM_Init(&htim5) != HAL_OK)
  {
    Error_Handler();
  }
  if (HAL_TIM_OC_Init(&htim5) != HAL_OK)
  {
    Error_Handler();
  }
  sMasterConfig.MasterOutputTrigger = TIM_TRGO_RESET;
  sMasterConfig.MasterSlaveMode = TIM_MASTERSLAVEMODE_DISABLE;
  if (HAL_TIMEx_MasterConfigSynchronization(&htim5, &sMasterConfig) != HAL_OK)
  {
    Error_Handler();
  }
  sConfigOC.OCMode = TIM_OCMODE_PWM1;
  sConfigOC.Pulse = 0;
  sConfigOC.OCPolarity = TIM_OCPOLARITY_HIGH;
  sConfigOC.OCFastMode = TIM_OCFAST_DISABLE;
  if (HAL_TIM_PWM_ConfigChannel(&htim5, &sConfigOC, TIM_CHANNEL_1) != HAL_OK)
  {
    Error_Handler();
  }
  if (HAL_TIM_PWM_ConfigChannel(&htim5, &sConfigOC, TIM_CHANNEL_2) != HAL_OK)
  {
    Error_Handler();
  }
  if (HAL_TIM_PWM_ConfigChannel(&htim5, &sConfigOC, TIM_CHANNEL_3) != HAL_OK)
  {
    Error_Handler();
  }
  sConfigOC.OCMode = TIM_OCMODE_TIMING;
  if (HAL_TIM_OC_ConfigChannel(&htim5, &sConfigOC, TIM_CHANNEL_4) != HAL_OK)
  {
    Error_Handler();
  }
  HAL_TIM_MspPostInit(&htim5);

}

static void MX_TIM6_Init(void)
{

  TIM_MasterConfigTypeDef sMasterConfig = {0};

  htim6.Instance = TIM6;
  htim6.Init.Prescaler = 72-1;
  htim6.Init.CounterMode = TIM_COUNTERMODE_UP;
  htim6.Init.Period = 65535;
  htim6.Init.AutoReloadPreload = TIM_AUTORELOAD_PRELOAD_DISABLE;
  if (HAL_TIM_Base_Init(&htim6) != HAL_OK)
  {
    Error_Handler();
  }
  sMasterConfig.MasterOutputTrigger = TIM_TRGO_RESET;
  sMasterConfig.MasterSlaveMode = TIM_MASTERSLAVEMODE_DISABLE;
  if (HAL_TIMEx_MasterConfigSynchronization(&htim6, &sMasterConfig) != HAL_OK)
  {
    Error_Handler();
  }

}

static void MX_TIM7_Init(void)
{

  TIM_MasterConfigTypeDef sMasterConfig = {0};

  htim7.Instance = TIM7;
  htim7.Init.Prescaler = 35;
  htim7.Init.CounterMode = TIM_COUNTERMODE_UP;
  htim7.Init.Period = 250;
  htim7.Init.AutoReloadPreload = TIM_AUTORELOAD_PRELOAD_DISABLE;
  if (HAL_TIM_Base_Init(&htim7) != HAL_OK)
  {
    Error_Handler();
  }
  sMasterConfig.MasterOutputTrigger = TIM_TRGO_RESET;
  sMasterConfig.MasterSlaveMode = TIM_MASTERSLAVEMODE_DISABLE;
  if (HAL_TIMEx_MasterConfigSynchronization(&htim7, &sMasterConfig) != HAL_OK)
  {
    Error_Handler();
  }

}

static void MX_USART1_UART_Init(void)
{

  huart1.Instance = USART1;
  huart1.Init.BaudRate = 9600;
  huart1.Init.WordLength = UART_WORDLENGTH_8B;
  huart1.Init.StopBits = UART_STOPBITS_1;
  huart1.Init.Parity = UART_PARITY_NONE;
  huart1.Init.Mode = UART_MODE_TX_RX;
  huart1.Init.HwFlowCtl = UART_HWCONTROL_NONE;
  huart1.Init.OverSampling = UART_OVERSAMPLING_16;
  if (HAL_UART_Init(&huart1) != HAL_OK)
  {
    Error_Handler();
  }

}

static void MX_DMA_Init(void)
{

  /* DMA controller clock enable */
  __HAL_RCC_DMA2_CLK_ENABLE();
  __HAL_RCC_DMA1_CLK_ENABLE();

  /* DMA interrupt init */
  /* DMA1_Stream3_IRQn interrupt configuration */
  HAL_NVIC_SetPriority(DMA1_Stream3_IRQn, 0, 0);
  HAL_NVIC_EnableIRQ(DMA1_Stream3_IRQn);
  /* DMA1_Stream4_IRQn interrupt configuration */
  HAL_NVIC_SetPriority(DMA1_Stream4_IRQn, 0, 0);
  HAL_NVIC_EnableIRQ(DMA1_Stream4_IRQn);
  /* DMA1_Stream6_IRQn interrupt configuration */
  HAL_NVIC_SetPriority(DMA1_Stream6_IRQn, 0, 0);
  HAL_NVIC_EnableIRQ(DMA1_Stream6_IRQn);
  /* DMA2_Stream0_IRQn interrupt configuration */
  HAL_NVIC_SetPriority(DMA2_Stream0_IRQn, 0, 0);
  HAL_NVIC_EnableIRQ(DMA2_Stream0_IRQn);
  /* DMA2_Stream2_IRQn interrupt configuration */
  HAL_NVIC_SetPriority(DMA2_Stream2_IRQn, 0, 0);
  HAL_NVIC_EnableIRQ(DMA2_Stream2_IRQn);

}

static void MX_GPIO_Init(void)
{
  GPIO_InitTypeDef GPIO_InitStruct = {0};

  /* GPIO Ports Clock Enable */
  __HAL_RCC_GPIOC_CLK_ENABLE();
  __HAL_RCC_GPIOH_CLK_ENABLE();
  __HAL_RCC_GPIOA_CLK_ENABLE();
  __HAL_RCC_GPIOB_CLK_ENABLE();
  __HAL_RCC_GPIOD_CLK_ENABLE();

  /*Configure GPIO pin Output Level */
  HAL_GPIO_WritePin(GPIOC, CAM_CTRL_Pin|BUZZER_Pin|PYRO1_Pin|PYRO2_Pin, GPIO_PIN_RESET);

  /*Configure GPIO pin Output Level */
  HAL_GPIO_WritePin(GPIOC, FLASH_NSS_Pin|FLASH_WP_Pin, GPIO_PIN_SET);

  /*Configure GPIO pin Output Level */
  HAL_GPIO_WritePin(IMU_NSS_GPIO_Port, IMU_NSS_Pin, GPIO_PIN_SET);

  /*Configure GPIO pin Output Level */
  HAL_GPIO_WritePin(LORA_NSS_GPIO_Port, LORA_NSS_Pin, GPIO_PIN_SET);

  /*Configure GPIO pin Output Level */
  HAL_GPIO_WritePin(LORA_NRST_GPIO_Port, LORA_NRST_Pin, GPIO_PIN_SET);

  /*Configure GPIO pin Output Level */
  HAL_GPIO_WritePin(EEP_WP_GPIO_Port, EEP_WP_Pin, GPIO_PIN_RESET);

  /*Configure GPIO pins : CAM_CTRL_Pin BUZZER_Pin PYRO1_Pin PYRO2_Pin */
  GPIO_InitStruct.Pin = CAM_CTRL_Pin|BUZZER_Pin|PYRO1_Pin|PYRO2_Pin;
  GPIO_InitStruct.Mode = GPIO_MODE_OUTPUT_PP;
  GPIO_InitStruct.Pull = GPIO_NOPULL;
  GPIO_InitStruct.Speed = GPIO_SPEED_FREQ_LOW;
  HAL_GPIO_Init(GPIOC, &GPIO_InitStruct);

  /*Configure GPIO pins : FLASH_NSS_Pin FLASH_WP_Pin */
  GPIO_InitStruct.Pin = FLASH_NSS_Pin|FLASH_WP_Pin;
  GPIO_InitStruct.Mode = GPIO_MODE_OUTPUT_PP;
  GPIO_InitStruct.Pull = GPIO_NOPULL;
  GPIO_InitStruct.Speed = GPIO_SPEED_FREQ_VERY_HIGH;
  HAL_GPIO_Init(GPIOC, &GPIO_InitStruct);

  /*Configure GPIO pin : LORA_DIO1_Pin */
  GPIO_InitStruct.Pin = LORA_DIO1_Pin;
  GPIO_InitStruct.Mode = GPIO_MODE_IT_RISING;
  GPIO_InitStruct.Pull = GPIO_PULLDOWN;
  HAL_GPIO_Init(LORA_DIO1_GPIO_Port, &GPIO_InitStruct);

  /*Configure GPIO pin : LORA_IO0_Pin */
  GPIO_InitStruct.Pin = LORA_IO0_Pin;
  GPIO_InitStruct.Mode = GPIO_MODE_INPUT;
  GPIO_InitStruct.Pull = GPIO_PULLDOWN;
  HAL_GPIO_Init(LORA_IO0_GPIO_Port, &GPIO_InitStruct);

  /*Configure GPIO pin : BMP_INT_Pin */
  GPIO_InitStruct.Pin = BMP_INT_Pin;
  GPIO_InitStruct.Mode = GPIO_MODE_IT_RISING;
  GPIO_InitStruct.Pull = GPIO_NOPULL;
  HAL_GPIO_Init(BMP_INT_GPIO_Port, &GPIO_InitStruct);

  /*Configure GPIO pins : IMU_NSS_Pin EEP_WP_Pin */
  GPIO_InitStruct.Pin = IMU_NSS_Pin|EEP_WP_Pin;
  GPIO_InitStruct.Mode = GPIO_MODE_OUTPUT_PP;
  GPIO_InitStruct.Pull = GPIO_NOPULL;
  GPIO_InitStruct.Speed = GPIO_SPEED_FREQ_VERY_HIGH;
  HAL_GPIO_Init(GPIOB, &GPIO_InitStruct);

  /*Configure GPIO pin : IMU_INT1_Pin */
  GPIO_InitStruct.Pin = IMU_INT1_Pin;
  GPIO_InitStruct.Mode = GPIO_MODE_IT_RISING;
  GPIO_InitStruct.Pull = GPIO_NOPULL;
  HAL_GPIO_Init(IMU_INT1_GPIO_Port, &GPIO_InitStruct);

  /*Configure GPIO pin : LORA_NSS_Pin */
  GPIO_InitStruct.Pin = LORA_NSS_Pin;
  GPIO_InitStruct.Mode = GPIO_MODE_OUTPUT_PP;
  GPIO_InitStruct.Pull = GPIO_NOPULL;
  GPIO_InitStruct.Speed = GPIO_SPEED_FREQ_VERY_HIGH;
  HAL_GPIO_Init(LORA_NSS_GPIO_Port, &GPIO_InitStruct);

  /*Configure GPIO pin : LORA_NRST_Pin */
  GPIO_InitStruct.Pin = LORA_NRST_Pin;
  GPIO_InitStruct.Mode = GPIO_MODE_OUTPUT_PP;
  GPIO_InitStruct.Pull = GPIO_NOPULL;
  GPIO_InitStruct.Speed = GPIO_SPEED_FREQ_LOW;
  HAL_GPIO_Init(LORA_NRST_GPIO_Port, &GPIO_InitStruct);

  /*Configure GPIO pin : PB4 */
  GPIO_InitStruct.Pin = GPIO_PIN_4;
  GPIO_InitStruct.Mode = GPIO_MODE_ANALOG;
  GPIO_InitStruct.Pull = GPIO_NOPULL;
  HAL_GPIO_Init(GPIOB, &GPIO_InitStruct);

  /* EXTI interrupt init*/
  HAL_NVIC_SetPriority(EXTI0_IRQn, 0, 0);
  HAL_NVIC_EnableIRQ(EXTI0_IRQn);

  HAL_NVIC_SetPriority(EXTI2_IRQn, 0, 0);
  HAL_NVIC_EnableIRQ(EXTI2_IRQn);

  HAL_NVIC_SetPriority(EXTI9_5_IRQn, 0, 0);
  HAL_NVIC_EnableIRQ(EXTI9_5_IRQn);

}

/* USER CODE BEGIN 4 */

/* Bench servo test — see the SERVO_BENCH_TEST block near the top of the file.
   Sweeps one TVC servo at a time between home+SWEEP and home-SWEEP, pausing at
   each end. Loops forever; power the board off when done. Uses SetAngleFine so
   it exercises the exact actuation path (and per-servo KST calibration) that TVC
   uses in flight. */
#ifdef SERVO_BENCH_TEST
static void Servo_BenchTest_One(servo_t *servo, float home)
{
    /* start centred so you can see the reference point */
    Servo_SetAngleFine(servo, home);
    HAL_Delay(SERVO_BENCH_PAUSE_MS);

    for (int i = 0; i < 3; i++)          /* a few cycles so it's easy to watch */
    {
        Servo_SetAngleFine(servo, home + SERVO_BENCH_SWEEP_DEG);   /* one end  */
        HAL_Delay(SERVO_BENCH_PAUSE_MS);
        Servo_SetAngleFine(servo, home - SERVO_BENCH_SWEEP_DEG);   /* other end*/
        HAL_Delay(SERVO_BENCH_PAUSE_MS);
    }

    Servo_SetAngleFine(servo, home);     /* leave it centred before next servo */
    HAL_Delay(SERVO_BENCH_PAUSE_MS);
}

void Servo_BenchTest(void)
{
    while (1)
    {
        /* Servo 1, on its own */
        LED_Set_Color(64, 0, 0);         /* red while servo 1 sweeps */
        Servo_BenchTest_One(&hservo1, (float)Servo1_Home);

        /* Servo 2, on its own */
        LED_Set_Color(0, 0, 64);         /* blue while servo 2 sweeps */
        Servo_BenchTest_One(&hservo2, (float)Servo2_Home);
    }
}
#endif /* SERVO_BENCH_TEST */

/* USER CODE END 4 */

void Get_Vbat(void){
  HAL_ADC_Start_DMA(&hadc1, adc_buff, 1);
}

void HAL_SPI_TxRxCpltCallback(SPI_HandleTypeDef *hspi){
  if(hspi == &hspi3){
	  HAL_SPI_Receive_IT(&hspi3,(uint8_t *)lora_buf,5);
  }
}

volatile uint32_t inttime;
void HAL_GPIO_EXTI_Callback(uint16_t GPIO_Pin){
  if(GPIO_Pin == LORA_DIO1_Pin){
    BUZZ(&hbuzz1, 100);
  }
  /* IMU_INT1 / DRDY is deliberately NOT handled any more. It used to fire at
     3333 Hz and do blocking SPI2 reads from interrupt context while the main
     loop was mid-transaction on the same bus. The IMU is now read from
     Mission_ControlTick() only. */
}

void HAL_ADC_ConvCpltCallback(ADC_HandleTypeDef *hadc){
  if(hadc->Instance == ADC1){
    /* 12-bit full scale is 4096, not 4095. And filter it: a single instantaneous
       sample lands wherever the pack happens to be during a servo or LoRa TX
       current spike. */
    float v = ((float)(adc_buff[0] & 0x0FFF) * 3.3f / 4096.0f) * VBAT_DIV_K;

    if (battery_v <= 0.0f) battery_v = v;                       /* first sample */
    else battery_v += VBAT_LP_ALPHA * (v - battery_v);
  }
}

// void HAL_UART_RxCpltCallback(UART_HandleTypeDef *huart){
//   if (huart->Instance == USART1){
//     if (huart->RxEventType == HAL_UART_RXEVENT_TC){
//       GPS_Process_Data(gps_working_buf, sizeof(gps_working_buf));

//       HAL_UART_Receive_DMA(&huart1, gps_working_buf, sizeof(gps_working_buf));
//     }
//   }
// }

int32_t platform_imu_init(void){
  return 0;
}

int32_t platform_imu_deinit(void){
  return 0;
}

int32_t platform_imu_write(uint16_t Address, uint16_t Reg, uint8_t *Data, uint16_t Length){
  (void)Address;

  uint8_t buf[256];
  if (Length + 1 > sizeof(buf)) return -1;

  buf[0] = ((uint8_t)Reg) & 0x7F;
  memcpy(&buf[1], Data, Length);

  IMU_NSS_GPIO_Port->BSRR = IMU_NSS_Pin << 16; // Set NSS low

  if (HAL_SPI_Transmit_DMA(&hspi2, buf, Length + 1) != HAL_OK){
    IMU_NSS_GPIO_Port->BSRR = IMU_NSS_Pin; // Set NSS high
    return -1;
  }
  // IMU_NSS_GPIO_Port->BSRR = IMU_NSS_Pin; // Set NSS high

  return 0;
}

int32_t platform_imu_read(uint16_t Address, uint16_t Reg, uint8_t *Data, uint16_t Length){
    (void)Address;

    uint8_t tx_buf[1 + Length];
    uint8_t rx_buf[1 + Length];

    memset(tx_buf, 0xFF, sizeof(tx_buf));

    tx_buf[0] = ((uint8_t)Reg) | 0x80; // Read bit set

    IMU_NSS_GPIO_Port->BSRR = IMU_NSS_Pin << 16; // NSS low

    if (HAL_SPI_TransmitReceive(&hspi2, tx_buf, rx_buf, 1 + Length, HAL_MAX_DELAY) != HAL_OK) {
        IMU_NSS_GPIO_Port->BSRR = IMU_NSS_Pin; // NSS high
        return -1;
    }

    IMU_NSS_GPIO_Port->BSRR = IMU_NSS_Pin; // NSS high

    memcpy(Data, &rx_buf[1], Length);

    return 0;
}

int32_t platform_get_tick(void){
  return (int32_t)HAL_GetTick();
}

void platform_delay(uint32_t ms){
    HAL_Delay(ms);
}

void HAL_TIM_PeriodElapsedCallback(TIM_HandleTypeDef *htim){
  if (htim == &htim7){
    HAL_GPIO_TogglePin(BUZZER_GPIO_Port, BUZZER_Pin);
    hbuzz1.ticks--;
    if(hbuzz1.ticks == 0){
      HAL_GPIO_WritePin(BUZZER_GPIO_Port, BUZZER_Pin, GPIO_PIN_RESET);
      HAL_TIM_Base_Stop(&htim7);
    }
  }else if(htim == &htim6){
    Mission_IncTick();
  }else if(htim == &htim3){
    Mission_ControlTick();
  }
}

void HAL_SPI_TxCpltCallback(SPI_HandleTypeDef *hspi){
  if (hspi == &hspi2){
    // Wait until SPI fully finished
    while (hspi->Instance->SR & SPI_SR_BSY);

    // Now it's safe to release NSS
    IMU_NSS_GPIO_Port->BSRR = IMU_NSS_Pin;
  }
}

/* ---------------------------------------------------------------------------
   400 Hz control loop timer (TIM3).

   TIM3 is on APB1. With SYSCLK = 144 MHz and APB1 = /4, the APB1 TIMER clock is
   72 MHz (same as TIM6, which uses prescaler 72-1 for its 1 us tick).

     72 MHz / 72 = 1 MHz;  1 MHz / 2500 = 400 Hz
   --------------------------------------------------------------------------- */
void Ctrl_Timer_Init(void)
{
  __HAL_RCC_TIM3_CLK_ENABLE();

  htim3.Instance               = TIM3;
  htim3.Init.Prescaler         = 72 - 1;      /* -> 1 MHz  */
  htim3.Init.CounterMode       = TIM_COUNTERMODE_UP;
  htim3.Init.Period            = 2500 - 1;    /* -> 400 Hz */
  htim3.Init.ClockDivision     = TIM_CLOCKDIVISION_DIV1;
  htim3.Init.AutoReloadPreload = TIM_AUTORELOAD_PRELOAD_DISABLE;

  if (HAL_TIM_Base_Init(&htim3) != HAL_OK)
  {
    Error_Handler();
  }

  /* Above the SD/LoRa/GPS work in the main loop, but leave room for anything
     that must pre-empt it. The ISR does two short SPI2 reads (~25 us at 9 MHz). */
  HAL_NVIC_SetPriority(TIM3_IRQn, 5, 0);
  HAL_NVIC_EnableIRQ(TIM3_IRQn);
}

void Ctrl_Timer_Start(void)
{
  __HAL_TIM_SET_COUNTER(&htim3, 0);
  HAL_TIM_Base_Start_IT(&htim3);
}

void Ctrl_Timer_Stop(void)
{
  HAL_TIM_Base_Stop_IT(&htim3);
}

void TIM3_IRQHandler(void)
{
  HAL_TIM_IRQHandler(&htim3);
}

/* USER CODE END 4 */

void Error_Handler(void)
{
  __disable_irq();
  while (1)
  {
  }
}
